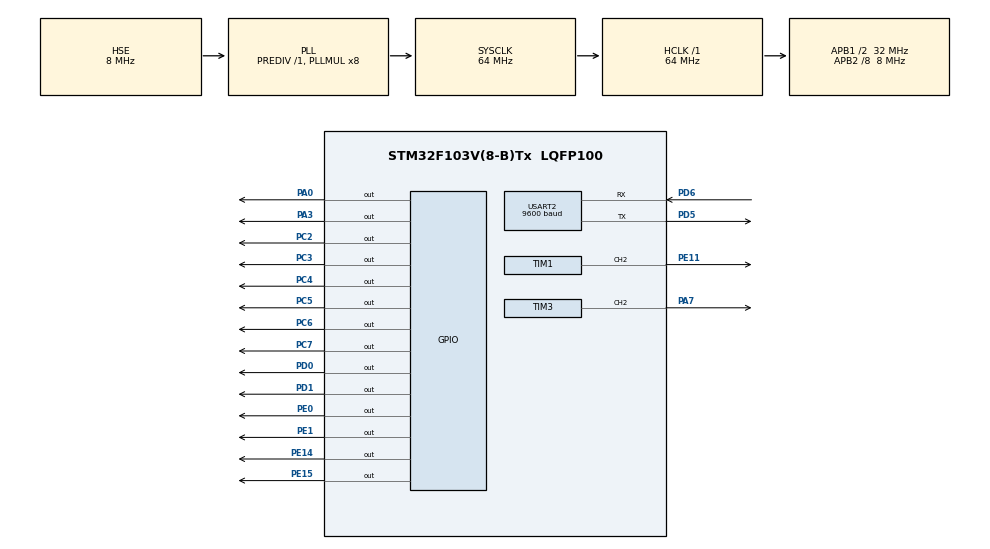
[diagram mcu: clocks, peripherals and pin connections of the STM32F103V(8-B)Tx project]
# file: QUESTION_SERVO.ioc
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Mcu.Family=STM32F1
RCC.PLLSourceVirtual=RCC_PLLSOURCE_HSE
PC15-OSC32_OUT.Mode=LSE-External-Oscillator
TIM3.AutoReloadPreload=TIM_AUTORELOAD_PRELOAD_ENABLE
PC4.Signal=GPIO_Output
PC2.Signal=GPIO_Output
PC6.Signal=GPIO_Output
PD1.Signal=GPIO_Output
PD5.Signal=USART2_TX
RCC.APB1CLKDivider=RCC_HCLK_DIV2
PC14-OSC32_IN.Signal=RCC_OSC32_IN
PD6.Mode=Asynchronous
USART2.BaudRate=9600
RCC.SYSCLKSource=RCC_SYSCLKSOURCE_PLLCLK
ProjectManager.StackSize=0x400
PA0-WKUP.Signal=GPIO_Output
PA13.Signal=SYS_JTMS-SWDIO
TIM1.AutoReloadPreload=TIM_AUTORELOAD_PRELOAD_ENABLE
TIM1.Prescaler=999
ProjectManager.TargetToolchain=STM32CubeIDE
RCC.HCLKFreq_Value=64000000
RCC.APB2TimFreq_Value=16000000
TIM3.Period=319
TIM1.Channel-PWM\ Generation2\ CH2=TIM_CHANNEL_2
PC7.Signal=GPIO_Output
PC3.Signal=GPIO_Output
PD0.Signal=GPIO_Output
OSC_IN.Signal=RCC_OSC_IN
RCC.USBFreq_Value=64000000
OSC_OUT.Mode=HSE-External-Oscillator
PE1.Signal=GPIO_Output
PE11.Signal=S_TIM1_CH2
OSC_OUT.Signal=RCC_OSC_OUT
PC15-OSC32_OUT.Signal=RCC_OSC32_OUT
RCC.AHBFreq_Value=64000000
PD5.Mode=Asynchronous
TIM3.OC2Preload_PWM=DISABLE
SH.S_TIM3_CH2.0=TIM3_CH2,PWM Generation2 CH2
board=custom
RCC.PLLMUL=RCC_PLL_MUL8
NVIC.TIM3_IRQn=true\:0\:0\:false\:false\:true\:true\:true
RCC.APB2Freq_Value=8000000
PE14.Signal=GPIO_Output
PE15.Signal=GPIO_Output
PC14-OSC32_IN.Mode=LSE-External-Oscillator
SH.S_TIM1_CH2.0=TIM1_CH2,PWM Generation2 CH2
PA14.Mode=Serial_Wire
TIM1.OC2Preload_PWM=DISABLE
TIM3.Prescaler=999
PA13.Mode=Serial_Wire
Mcu.Name=STM32F103V(8-B)Tx
PE0.Signal=GPIO_Output
VP_TIM1_VS_ClockSourceINT.Mode=Internal
RCC.SYSCLKFreq_VALUE=64000000
Mcu.Package=LQFP100
PB1.Signal=S_TIM3_CH4
OSC_IN.Mode=HSE-External-Oscillator
USART2.VirtualMode=VM_ASYNC
PA14.Signal=SYS_JTCK-SWCLK
ProjectManager.HeapSize=0x200
NVIC.PriorityGroup=NVIC_PRIORITYGROUP_4
RCC.APB2CLKDivider=RCC_HCLK_DIV8
TIM3.Channel-PWM\ Generation2\ CH2=TIM_CHANNEL_2
RCC.APB1TimFreq_Value=64000000
PC5.Signal=GPIO_Output
TIM1.Period=319
PD6.Signal=USART2_RX
RCC.APB1Freq_Value=32000000
VP_TIM3_VS_ClockSourceINT.Mode=Internal
SH.S_TIM3_CH4.0=TIM3_CH4
PA3.Signal=GPIO_Output
PA7.Signal=S_TIM3_CH2

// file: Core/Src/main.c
/* USER CODE BEGIN Header */
/**
  ******************************************************************************
  * @file           : main.c
  * @brief          : Main program body
  ******************************************************************************
  * @attention
  *
  * <h2><center>&copy; Copyright (c) 2021 STMicroelectronics.
  * All rights reserved.</center></h2>
  *
  * This software component is licensed by ST under BSD 3-Clause license,
  * the "License"; You may not use this file except in compliance with the
  * License. You may obtain a copy of the License at:
  *                        opensource.org/licenses/BSD-3-Clause
  *
  ******************************************************************************
  */
/* USER CODE END Header */
#include "main.h"

TIM_HandleTypeDef htim1;
TIM_HandleTypeDef htim3;

UART_HandleTypeDef huart2;

void SystemClock_Config(void);
static void MX_GPIO_Init(void);
static void MX_TIM3_Init(void);
static void MX_USART2_UART_Init(void);
static void MX_TIM1_Init(void);

/* USER CODE BEGIN 0 */
uint8_t state=0;
void ledset(void)
{
	int led_time=200;

	HAL_GPIO_WritePin(GPIOC, GPIO_PIN_6, 1);
	HAL_GPIO_WritePin(GPIOC, GPIO_PIN_7, 1);  //j0灯亮
	HAL_Delay(led_time);

	HAL_GPIO_WritePin(GPIOC, GPIO_PIN_6, 0);
	HAL_GPIO_WritePin(GPIOC, GPIO_PIN_7, 0);
	HAL_GPIO_WritePin(GPIOE, GPIO_PIN_14, 1);
	HAL_GPIO_WritePin(GPIOE, GPIO_PIN_15, 1);  //J1
	HAL_Delay(led_time);

	HAL_GPIO_WritePin(GPIOE, GPIO_PIN_14, 0);
	HAL_GPIO_WritePin(GPIOE, GPIO_PIN_15, 0);
	HAL_GPIO_WritePin(GPIOC, GPIO_PIN_4, 1);
	HAL_GPIO_WritePin(GPIOC, GPIO_PIN_5, 1);  //J2
	HAL_Delay(led_time);

	HAL_GPIO_WritePin(GPIOA, GPIO_PIN_0, 1);
	HAL_GPIO_WritePin(GPIOA, GPIO_PIN_3, 1);
	HAL_GPIO_WritePin(GPIOC, GPIO_PIN_4, 0);
	HAL_GPIO_WritePin(GPIOC, GPIO_PIN_5, 0);  //J3
	HAL_Delay(led_time);

	HAL_GPIO_WritePin(GPIOE, GPIO_PIN_0, 1);
	HAL_GPIO_WritePin(GPIOE, GPIO_PIN_1, 1);
	HAL_GPIO_WritePin(GPIOA, GPIO_PIN_0, 0);
	HAL_GPIO_WritePin(GPIOA, GPIO_PIN_3, 0);  //J4
	HAL_Delay(led_time);

	HAL_GPIO_WritePin(GPIOE, GPIO_PIN_0, 0);
	HAL_GPIO_WritePin(GPIOE, GPIO_PIN_1, 0);
	HAL_GPIO_WritePin(GPIOD, GPIO_PIN_0, 1);
	HAL_GPIO_WritePin(GPIOD, GPIO_PIN_1, 1);  //J5
	HAL_Delay(led_time);

	HAL_GPIO_WritePin(GPIOD, GPIO_PIN_0, 0);
	HAL_GPIO_WritePin(GPIOD, GPIO_PIN_1, 0);

	for(int i=0;i<3;i++)
	{
	HAL_GPIO_WritePin(GPIOC, GPIO_PIN_6, 1);
	HAL_GPIO_WritePin(GPIOC, GPIO_PIN_7, 1);
	HAL_GPIO_WritePin(GPIOE, GPIO_PIN_14, 1);
	HAL_GPIO_WritePin(GPIOE, GPIO_PIN_15, 1);
	HAL_GPIO_WritePin(GPIOC, GPIO_PIN_4, 1);
	HAL_GPIO_WritePin(GPIOC, GPIO_PIN_5, 1);
	HAL_GPIO_WritePin(GPIOA, GPIO_PIN_0, 1);
	HAL_GPIO_WritePin(GPIOA, GPIO_PIN_3, 1);
	HAL_GPIO_WritePin(GPIOE, GPIO_PIN_0, 1);
	HAL_GPIO_WritePin(GPIOE, GPIO_PIN_1, 1);
	HAL_GPIO_WritePin(GPIOD, GPIO_PIN_0, 1);
	HAL_GPIO_WritePin(GPIOD, GPIO_PIN_1, 1);
	HAL_Delay(led_time);
	HAL_GPIO_WritePin(GPIOC, GPIO_PIN_6, 0);
	HAL_GPIO_WritePin(GPIOC, GPIO_PIN_7, 0);
	HAL_GPIO_WritePin(GPIOE, GPIO_PIN_14,0);
	HAL_GPIO_WritePin(GPIOE, GPIO_PIN_15,0);
	HAL_GPIO_WritePin(GPIOC, GPIO_PIN_4, 0);
	HAL_GPIO_WritePin(GPIOC, GPIO_PIN_5, 0);
	HAL_GPIO_WritePin(GPIOA, GPIO_PIN_0, 0);
	HAL_GPIO_WritePin(GPIOA, GPIO_PIN_3,0);
	HAL_GPIO_WritePin(GPIOE, GPIO_PIN_0,0);
	HAL_GPIO_WritePin(GPIOE, GPIO_PIN_1, 0);
	HAL_GPIO_WritePin(GPIOD, GPIO_PIN_0, 0);
	HAL_GPIO_WritePin(GPIOD, GPIO_PIN_1, 0);
	HAL_Delay(led_time);
}
}

/* USER CODE END 0 */

int main(void)
{

  /* MCU Configuration--------------------------------------------------------*/

  /* Reset of all peripherals, Initializes the Flash interface and the Systick. */
  HAL_Init();

  /* USER CODE BEGIN Init */
  unsigned char uRxDate=0;
  /* USER CODE END Init */

  /* Configure the system clock */
  SystemClock_Config();

  /* Initialize all configured peripherals */
  MX_GPIO_Init();
  MX_TIM3_Init();
  MX_USART2_UART_Init();
  MX_TIM1_Init();
  /* USER CODE BEGIN 2 */
  uint8_t  pwmVal=0;
  HAL_TIM_PWM_Start(&htim1,TIM_CHANNEL_2);
  /* USER CODE END 2 */

  /* Infinite loop */
  /* USER CODE BEGIN WHILE */
  uint8_t f=0;
  while (1)
  {
    /* USER CODE END WHILE */

    /* USER CODE BEGIN 3 */

	  if(HAL_UART_Receive(&huart2,&uRxDate, 1, 1000)==HAL_OK)
	 	           {
	 	           HAL_UART_Transmit(&huart2, &uRxDate, 1, 0xffff);
	 	           if(uRxDate==0x00){
	 	        	   state=0;
	 	           }
	 	           else if(uRxDate==0x01)
	 	           {
	 	        	   state=1;
	 	           }
	 	           else if(uRxDate==0x02){
	 	        	   state=2;
	 	           }
	 	           else if(uRxDate==0x03)
	 	           {
	 	        	   state=3;
	 	           }

	 	           }

	  switch(state)
	  {
	  case 0:
		  ledset();break;
	  case 1:
		  if(pwmVal < 40&&f==0){
		  			  pwmVal+=8;
		  			  if(pwmVal==40)
		  				  f=1;
		  			  __HAL_TIM_SetCompare(&htim1,TIM_CHANNEL_2,pwmVal);
		  		  }
		  else{
		  			  pwmVal-=8;
		  			  if(pwmVal==0)
		  				  f=0;
		  			  __HAL_TIM_SetCompare(&htim1,TIM_CHANNEL_2,pwmVal);
		  		  }
		    break;
	  case 2:
		  HAL_GPIO_WritePin(GPIOC, GPIO_PIN_2,0);
		  HAL_GPIO_WritePin(GPIOC, GPIO_PIN_3,0);
		  HAL_GPIO_WritePin(GPIOE, GPIO_PIN_0,0);
		  HAL_GPIO_WritePin(GPIOE, GPIO_PIN_1,0);break;
	  case 3:
		  HAL_GPIO_WritePin(GPIOC, GPIO_PIN_2,1);
		  HAL_GPIO_WritePin(GPIOC, GPIO_PIN_3,0);
		  HAL_GPIO_WritePin(GPIOE, GPIO_PIN_0,1);
		  HAL_GPIO_WritePin(GPIOE, GPIO_PIN_1,0);break;

	  }

	  /*
	  if(HAL_UART_Receive(&huart2,&uRxDate, 1, 1000)==HAL_OK)
	           {
	           HAL_UART_Transmit(&huart2, &uRxDate, 1, 0xffff);

	           if(uRxDate&0x01)
	           {
                    while(1)
                    {
	        	    for(int i=0;i<50;i++)
	        	     {
	        		  HAL_GPIO_WritePin(GPIOE, GPIO_PIN_11,1);
	        		  delay_us(1);
	        		  HAL_GPIO_WritePin(GPIOE, GPIO_PIN_11,0);
	        		  delay_us(19);
	        	     }
                     HAL_Delay(1);
	        	     for(int i=0;i<50;i++)
	        	     {
	        		  HAL_GPIO_WritePin(GPIOE, GPIO_PIN_11,1);
	        		  delay_us(2);
	        		  HAL_GPIO_WritePin(GPIOE, GPIO_PIN_11,0);
	        		  delay_us(18);
	        	     }
                    }
	           }

	           else if(uRxDate&0x02)
	           {

	           }

	           else if(uRxDate&0x03)
	           {

	           }

	           else if(uRxDate&0x04)
	           {

	           }

	           else
	           {
                ledset();
	           }

	           }

	  */

		  /*

     for(int i=0;i<200;i++)
     {
	  HAL_GPIO_WritePin(GPIOE, GPIO_PIN_11,1);
	  delay_us(1);
	  HAL_GPIO_WritePin(GPIOE, GPIO_PIN_11,0);
	  delay_us(19);
     }

     for(int i=0;i<200;i++)
     {
	  HAL_GPIO_WritePin(GPIOE, GPIO_PIN_11,1);
	  delay_us(2);
	  HAL_GPIO_WritePin(GPIOE, GPIO_PIN_11,0);
	  delay_us(18);
     }

 */

  }
  /* USER CODE END 3 */
}

void SystemClock_Config(void)
{
  RCC_OscInitTypeDef RCC_OscInitStruct = {0};
  RCC_ClkInitTypeDef RCC_ClkInitStruct = {0};

  /** Initializes the RCC Oscillators according to the specified parameters
  * in the RCC_OscInitTypeDef structure.
  */
  RCC_OscInitStruct.OscillatorType = RCC_OSCILLATORTYPE_HSE;
  RCC_OscInitStruct.HSEState = RCC_HSE_ON;
  RCC_OscInitStruct.HSEPredivValue = RCC_HSE_PREDIV_DIV1;
  RCC_OscInitStruct.HSIState = RCC_HSI_ON;
  RCC_OscInitStruct.PLL.PLLState = RCC_PLL_ON;
  RCC_OscInitStruct.PLL.PLLSource = RCC_PLLSOURCE_HSE;
  RCC_OscInitStruct.PLL.PLLMUL = RCC_PLL_MUL8;
  if (HAL_RCC_OscConfig(&RCC_OscInitStruct) != HAL_OK)
  {
    Error_Handler();
  }
  /** Initializes the CPU, AHB and APB buses clocks
  */
  RCC_ClkInitStruct.ClockType = RCC_CLOCKTYPE_HCLK|RCC_CLOCKTYPE_SYSCLK
                              |RCC_CLOCKTYPE_PCLK1|RCC_CLOCKTYPE_PCLK2;
  RCC_ClkInitStruct.SYSCLKSource = RCC_SYSCLKSOURCE_PLLCLK;
  RCC_ClkInitStruct.AHBCLKDivider = RCC_SYSCLK_DIV1;
  RCC_ClkInitStruct.APB1CLKDivider = RCC_HCLK_DIV2;
  RCC_ClkInitStruct.APB2CLKDivider = RCC_HCLK_DIV8;

  if (HAL_RCC_ClockConfig(&RCC_ClkInitStruct, FLASH_LATENCY_2) != HAL_OK)
  {
    Error_Handler();
  }
}

static void MX_TIM1_Init(void)
{

  TIM_ClockConfigTypeDef sClockSourceConfig = {0};
  TIM_MasterConfigTypeDef sMasterConfig = {0};
  TIM_OC_InitTypeDef sConfigOC = {0};
  TIM_BreakDeadTimeConfigTypeDef sBreakDeadTimeConfig = {0};

  htim1.Instance = TIM1;
  htim1.Init.Prescaler = 999;
  htim1.Init.CounterMode = TIM_COUNTERMODE_UP;
  htim1.Init.Period = 319;
  htim1.Init.ClockDivision = TIM_CLOCKDIVISION_DIV1;
  htim1.Init.RepetitionCounter = 0;
  htim1.Init.AutoReloadPreload = TIM_AUTORELOAD_PRELOAD_ENABLE;
  if (HAL_TIM_Base_Init(&htim1) != HAL_OK)
  {
    Error_Handler();
  }
  sClockSourceConfig.ClockSource = TIM_CLOCKSOURCE_INTERNAL;
  if (HAL_TIM_ConfigClockSource(&htim1, &sClockSourceConfig) != HAL_OK)
  {
    Error_Handler();
  }
  if (HAL_TIM_PWM_Init(&htim1) != HAL_OK)
  {
    Error_Handler();
  }
  sMasterConfig.MasterOutputTrigger = TIM_TRGO_RESET;
  sMasterConfig.MasterSlaveMode = TIM_MASTERSLAVEMODE_DISABLE;
  if (HAL_TIMEx_MasterConfigSynchronization(&htim1, &sMasterConfig) != HAL_OK)
  {
    Error_Handler();
  }
  sConfigOC.OCMode = TIM_OCMODE_PWM1;
  sConfigOC.Pulse = 0;
  sConfigOC.OCPolarity = TIM_OCPOLARITY_HIGH;
  sConfigOC.OCNPolarity = TIM_OCNPOLARITY_HIGH;
  sConfigOC.OCFastMode = TIM_OCFAST_DISABLE;
  sConfigOC.OCIdleState = TIM_OCIDLESTATE_RESET;
  sConfigOC.OCNIdleState = TIM_OCNIDLESTATE_RESET;
  if (HAL_TIM_PWM_ConfigChannel(&htim1, &sConfigOC, TIM_CHANNEL_2) != HAL_OK)
  {
    Error_Handler();
  }
  __HAL_TIM_DISABLE_OCxPRELOAD(&htim1, TIM_CHANNEL_2);
  sBreakDeadTimeConfig.OffStateRunMode = TIM_OSSR_DISABLE;
  sBreakDeadTimeConfig.OffStateIDLEMode = TIM_OSSI_DISABLE;
  sBreakDeadTimeConfig.LockLevel = TIM_LOCKLEVEL_OFF;
  sBreakDeadTimeConfig.DeadTime = 0;
  sBreakDeadTimeConfig.BreakState = TIM_BREAK_DISABLE;
  sBreakDeadTimeConfig.BreakPolarity = TIM_BREAKPOLARITY_HIGH;
  sBreakDeadTimeConfig.AutomaticOutput = TIM_AUTOMATICOUTPUT_DISABLE;
  if (HAL_TIMEx_ConfigBreakDeadTime(&htim1, &sBreakDeadTimeConfig) != HAL_OK)
  {
    Error_Handler();
  }
  HAL_TIM_MspPostInit(&htim1);

}

static void MX_TIM3_Init(void)
{

  TIM_ClockConfigTypeDef sClockSourceConfig = {0};
  TIM_MasterConfigTypeDef sMasterConfig = {0};
  TIM_OC_InitTypeDef sConfigOC = {0};

  htim3.Instance = TIM3;
  htim3.Init.Prescaler = 999;
  htim3.Init.CounterMode = TIM_COUNTERMODE_UP;
  htim3.Init.Period = 319;
  htim3.Init.ClockDivision = TIM_CLOCKDIVISION_DIV1;
  htim3.Init.AutoReloadPreload = TIM_AUTORELOAD_PRELOAD_ENABLE;
  if (HAL_TIM_Base_Init(&htim3) != HAL_OK)
  {
    Error_Handler();
  }
  sClockSourceConfig.ClockSource = TIM_CLOCKSOURCE_INTERNAL;
  if (HAL_TIM_ConfigClockSource(&htim3, &sClockSourceConfig) != HAL_OK)
  {
    Error_Handler();
  }
  if (HAL_TIM_PWM_Init(&htim3) != HAL_OK)
  {
    Error_Handler();
  }
  sMasterConfig.MasterOutputTrigger = TIM_TRGO_RESET;
  sMasterConfig.MasterSlaveMode = TIM_MASTERSLAVEMODE_DISABLE;
  if (HAL_TIMEx_MasterConfigSynchronization(&htim3, &sMasterConfig) != HAL_OK)
  {
    Error_Handler();
  }
  sConfigOC.OCMode = TIM_OCMODE_PWM1;
  sConfigOC.Pulse = 0;
  sConfigOC.OCPolarity = TIM_OCPOLARITY_HIGH;
  sConfigOC.OCFastMode = TIM_OCFAST_DISABLE;
  if (HAL_TIM_PWM_ConfigChannel(&htim3, &sConfigOC, TIM_CHANNEL_2) != HAL_OK)
  {
    Error_Handler();
  }
  __HAL_TIM_DISABLE_OCxPRELOAD(&htim3, TIM_CHANNEL_2);
  HAL_TIM_MspPostInit(&htim3);

}

static void MX_USART2_UART_Init(void)
{

  huart2.Instance = USART2;
  huart2.Init.BaudRate = 9600;
  huart2.Init.WordLength = UART_WORDLENGTH_8B;
  huart2.Init.StopBits = UART_STOPBITS_1;
  huart2.Init.Parity = UART_PARITY_NONE;
  huart2.Init.Mode = UART_MODE_TX_RX;
  huart2.Init.HwFlowCtl = UART_HWCONTROL_NONE;
  huart2.Init.OverSampling = UART_OVERSAMPLING_16;
  if (HAL_UART_Init(&huart2) != HAL_OK)
  {
    Error_Handler();
  }

}

static void MX_GPIO_Init(void)
{
  GPIO_InitTypeDef GPIO_InitStruct = {0};

  /* GPIO Ports Clock Enable */
  __HAL_RCC_GPIOC_CLK_ENABLE();
  __HAL_RCC_GPIOA_CLK_ENABLE();
  __HAL_RCC_GPIOB_CLK_ENABLE();
  __HAL_RCC_GPIOE_CLK_ENABLE();
  __HAL_RCC_GPIOD_CLK_ENABLE();

  /*Configure GPIO pin Output Level */
  HAL_GPIO_WritePin(GPIOC, GPIO_PIN_2|GPIO_PIN_3|GPIO_PIN_4|GPIO_PIN_5
                          |GPIO_PIN_6|GPIO_PIN_7, GPIO_PIN_RESET);

  /*Configure GPIO pin Output Level */
  HAL_GPIO_WritePin(GPIOA, GPIO_PIN_0|GPIO_PIN_3, GPIO_PIN_RESET);

  /*Configure GPIO pin Output Level */
  HAL_GPIO_WritePin(GPIOE, GPIO_PIN_14|GPIO_PIN_15|GPIO_PIN_0|GPIO_PIN_1, GPIO_PIN_RESET);

  /*Configure GPIO pin Output Level */
  HAL_GPIO_WritePin(GPIOD, GPIO_PIN_0|GPIO_PIN_1, GPIO_PIN_RESET);

  /*Configure GPIO pins : PC2 PC3 PC4 PC5
                           PC6 PC7 */
  GPIO_InitStruct.Pin = GPIO_PIN_2|GPIO_PIN_3|GPIO_PIN_4|GPIO_PIN_5
                          |GPIO_PIN_6|GPIO_PIN_7;
  GPIO_InitStruct.Mode = GPIO_MODE_OUTPUT_PP;
  GPIO_InitStruct.Pull = GPIO_NOPULL;
  GPIO_InitStruct.Speed = GPIO_SPEED_FREQ_LOW;
  HAL_GPIO_Init(GPIOC, &GPIO_InitStruct);

  /*Configure GPIO pins : PA0 PA3 */
  GPIO_InitStruct.Pin = GPIO_PIN_0|GPIO_PIN_3;
  GPIO_InitStruct.Mode = GPIO_MODE_OUTPUT_PP;
  GPIO_InitStruct.Pull = GPIO_NOPULL;
  GPIO_InitStruct.Speed = GPIO_SPEED_FREQ_LOW;
  HAL_GPIO_Init(GPIOA, &GPIO_InitStruct);

  /*Configure GPIO pins : PE14 PE15 PE0 PE1 */
  GPIO_InitStruct.Pin = GPIO_PIN_14|GPIO_PIN_15|GPIO_PIN_0|GPIO_PIN_1;
  GPIO_InitStruct.Mode = GPIO_MODE_OUTPUT_PP;
  GPIO_InitStruct.Pull = GPIO_NOPULL;
  GPIO_InitStruct.Speed = GPIO_SPEED_FREQ_LOW;
  HAL_GPIO_Init(GPIOE, &GPIO_InitStruct);

  /*Configure GPIO pins : PD0 PD1 */
  GPIO_InitStruct.Pin = GPIO_PIN_0|GPIO_PIN_1;
  GPIO_InitStruct.Mode = GPIO_MODE_OUTPUT_PP;
  GPIO_InitStruct.Pull = GPIO_NOPULL;
  GPIO_InitStruct.Speed = GPIO_SPEED_FREQ_LOW;
  HAL_GPIO_Init(GPIOD, &GPIO_InitStruct);

}

/* USER CODE BEGIN 4 */
void delay_us(uint16_t us)
{
	uint16_t differ=0xffff-us-5;
	HAL_TIM_Base_Start(&htim3);
	__HAL_TIM_SetCounter(&htim3,differ);
	while(differ<0xffff-5)
	{
		differ=__HAL_TIM_GET_COUNTER(&htim3);

	}

	HAL_TIM_Base_Stop(&htim3);
}

/* USER CODE END 4 */

void Error_Handler(void)
{
  __disable_irq();
  while (1)
  {
  }
}

/************************ (C) COPYRIGHT STMicroelectronics *****END OF FILE****/
